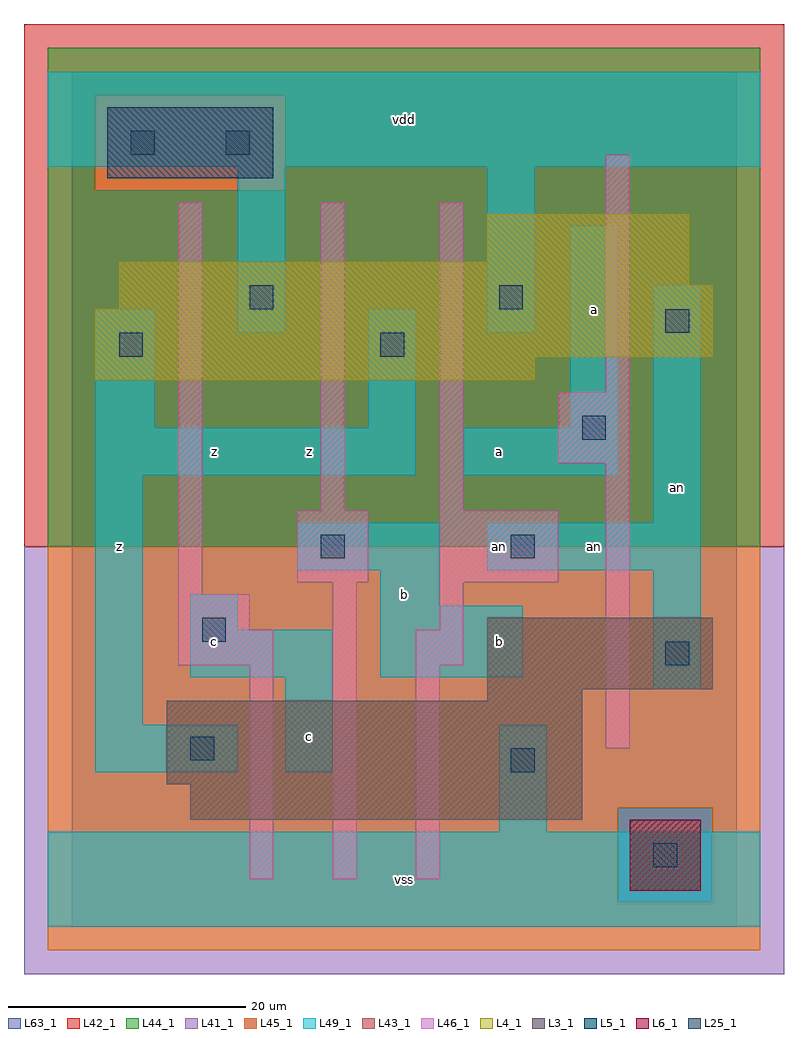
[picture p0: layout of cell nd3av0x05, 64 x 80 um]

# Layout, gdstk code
import gdstk
lib = gdstk.Library(unit=1e-6, precision=1e-09)
def R(c, l, rs):  # rectangles x0, y0, x1, y1
    for r in rs: c.add(gdstk.rectangle(r[:2], r[2:], *l))
L3_1 = (3, 1)
L4_1 = (4, 1)
L5_1 = (5, 1)
L6_1 = (6, 1)
L25_1 = (25, 1)
L41_1 = (41, 1)
L42_1 = (42, 1)
L43_1 = (43, 1)
L44_1 = (44, 1)
L45_1 = (45, 1)
L46_1 = (46, 1)
L49_1 = (49, 1)
L63_1 = (63, 1)

nd3av0x05 = lib.new_cell('nd3av0x05')
R(nd3av0x05, L3_1, [(10,9,43,12), (8,12,43,19), (35,19,43,20), (35,20,54,26)])
R(nd3av0x05, L4_1, [(2,46,39,48), (2,48,54,52), (4,52,54,54), (4,54,52,56), (35,56,52,60)])
R(nd3av0x05, L5_1, [(3,63,17,69)])
R(nd3av0x05, L6_1, [(47,3,53,9), (47,3,53,9)])
R(nd3av0x05, L25_1, [(49,5,51,7), (37,13,39,15), (10,14,12,16), (50,22,52,24), (11,24,13,26), (21,31,23,33), (37,31,39,33), (43,41,45,43), (4,48,6,50), (26,48,28,50), (50,50,52,52), (15,52,17,54), (36,52,38,54), (5,65,7,67), (13,65,15,67)])
R(nd3av0x05, L41_1, [(-4,-4,60,32)])
R(nd3av0x05, L42_1, [(-4,32,60,76)])
R(nd3av0x05, L43_1, [(47,3,53,9), (10,9,43,12), (8,12,43,19), (35,19,43,20), (35,20,54,26), (2,46,39,48), (2,48,54,52), (4,52,54,54), (4,54,52,56), (35,56,52,60), (3,63,17,69)])
R(nd3av0x05, L44_1, [(46,2,54,10), (-2,32,58,62), (-2,62,2,70), (18,62,58,70), (-2,70,58,74)])
R(nd3av0x05, L45_1, [(-2,-2,58,2), (-2,2,46,10), (54,2,58,10), (-2,10,58,32), (2,62,18,70)])
R(nd3av0x05, L46_1, [(15,4,17,22), (22,4,24,29), (29,4,31,22), (45,15,47,39), (9,22,17,25), (29,22,33,25), (9,25,15,28), (31,25,33,29), (9,28,11,61), (19,29,25,35), (31,29,41,35), (21,35,23,61), (31,35,33,61), (41,39,47,45), (45,45,47,65)])
R(nd3av0x05, L49_1, [(-2,0,58,8), (36,8,40,17), (2,13,14,17), (18,13,22,21), (2,17,6,38), (49,20,53,30), (10,21,22,25), (26,21,38,27), (10,25,14,28), (26,27,31,30), (19,30,31,34), (35,30,53,34), (49,34,53,54), (2,38,29,42), (33,38,46,42), (2,42,7,52), (25,42,29,52), (42,42,46,59), (14,50,18,64), (35,50,39,64), (-2,64,58,72)])
R(nd3av0x05, L63_1, [(0,0,56,72)])
nd3av0x05.add(gdstk.Label('an', (36,32), layer=46, texttype=1))
nd3av0x05.add(gdstk.Label('z', (4,32), layer=49, texttype=1))
nd3av0x05.add(gdstk.Label('c', (20,16), layer=49, texttype=1))
nd3av0x05.add(gdstk.Label('c', (12,24), layer=49, texttype=1))
nd3av0x05.add(gdstk.Label('z', (20,40), layer=49, texttype=1))
nd3av0x05.add(gdstk.Label('z', (12,40), layer=49, texttype=1))
nd3av0x05.add(gdstk.Label('vss', (28,4), layer=49, texttype=1))
nd3av0x05.add(gdstk.Label('b', (28,28), layer=49, texttype=1))
nd3av0x05.add(gdstk.Label('b', (36,24), layer=49, texttype=1))
nd3av0x05.add(gdstk.Label('a', (36,40), layer=49, texttype=1))
nd3av0x05.add(gdstk.Label('vdd', (28,68), layer=49, texttype=1))
nd3av0x05.add(gdstk.Label('an', (44,32), layer=49, texttype=1))
nd3av0x05.add(gdstk.Label('an', (51,37), layer=49, texttype=1))
nd3av0x05.add(gdstk.Label('a', (44,52), layer=49, texttype=1))

lib.write_gds('nd3av0x05.gds')
